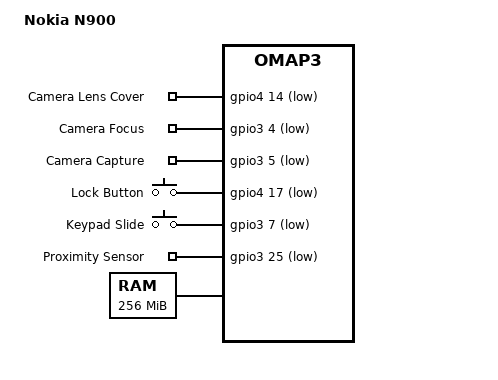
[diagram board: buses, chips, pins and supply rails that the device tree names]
/*
 * Nokia N900 Device Tree.
 *
 * Based on the Linux one.
 */

#include "Skeleton.dtsi"
#include "OMAP3.dtsi"

/ {
    compatible = "N88AP", "nokia,omap3-n900", "ti,omap3430", "ti-omap3", "AppleARM";
    model = "Nokia N900";

    /*
     * GPIO device keys.
     */
    gpio_keys {
        compatible = "gpio-keys";

        camera_lens_cover {
            label = "Camera Lens Cover";
            gpios = <&gpio4 14 1>; /* 110 */
            AAPL,input-type = <5>; /* EV_SW */
            AAPL,code = <0x09>; /* SW_CAMERA_LENS_COVER */
            gpio-key,wakeup;
        };

        camera_focus {
            label = "Camera Focus";
            gpios = <&gpio3 4 1>; /* 68 */
            AAPL,code = <0x210>; /* KEY_CAMERA_FOCUS */
            gpio-key,wakeup;
        };

        camera_capture {
            label = "Camera Capture";
            gpios = <&gpio3 5 1>; /* 69 */
            AAPL,code = <0xd4>; /* KEY_CAMERA */
            gpio-key,wakeup;
        };

        lock_button {
            label = "Lock Button";
            gpios = <&gpio4 17 1>; /* 113 */
            AAPL,code = <0x98>; /* KEY_SCREENLOCK */
            gpio-key,wakeup;
        };

        keypad_slide {
            label = "Keypad Slide";
            gpios = <&gpio3 7 1>; /* 71 */
            AAPL,input-type = <5>; /* EV_SW */
            AAPL,code = <0x0a>; /* SW_KEYPAD_SLIDE */
            gpio-key,wakeup;
        };

        proximity_sensor {
            label = "Proximity Sensor";
            gpios = <&gpio3 25 1>; /* 89 */
            AAPL,input-type = <5>; /* EV_SW */
            AAPL,code = <0x0b>; /* SW_FRONT_PROXIMITY */
        };
    };

    /*
     * SDRAM allocation.
     */
    memory {
        device_type = "memory";
        reg = <0x80000000 0x10000000>; /* 256 MB */
    };
};
